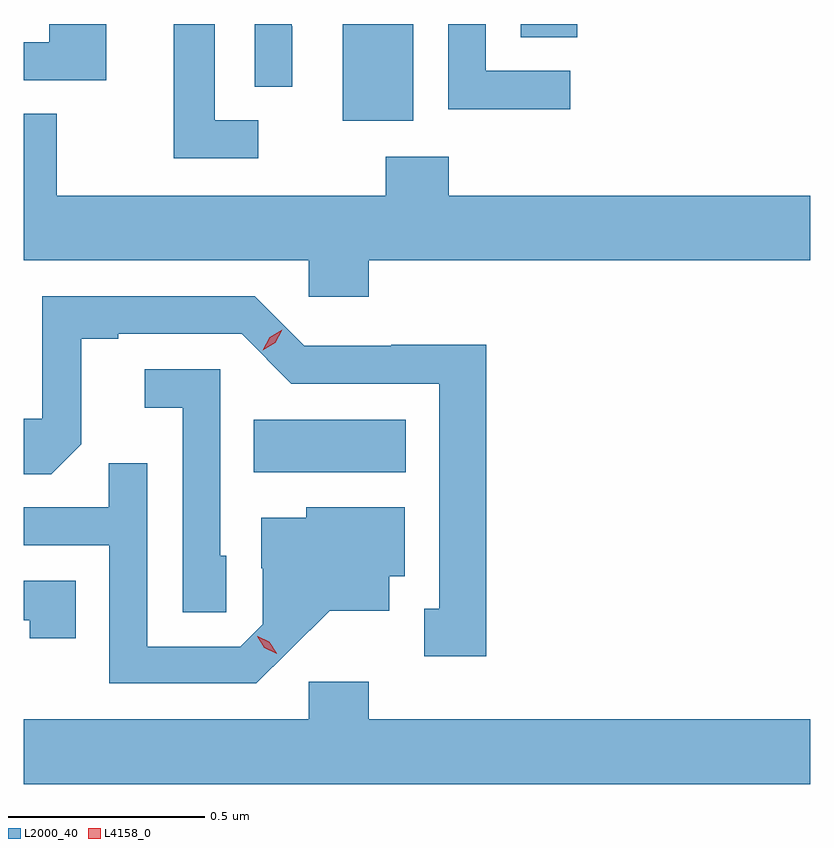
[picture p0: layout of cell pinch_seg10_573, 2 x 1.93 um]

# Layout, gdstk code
import gdstk
lib = gdstk.Library(unit=1e-6, precision=1e-09)
def R(c, l, rs):  # rectangles x0, y0, x1, y1
    for r in rs: c.add(gdstk.rectangle(r[:2], r[2:], *l))
def P(c, l, *ps):  # polygons
    for p in ps: c.add(gdstk.Polygon(p, *l))
L2000_40 = (2000, 40)
L4158_0 = (4158, 0)

pinch_seg10_573 = lib.new_cell('pinch_seg10_573')
R(pinch_seg10_573, L2000_40, [(383.788,1261.148,384.175,1261.282), (384.014,1262.042,384.193,1262.288), (384.467,1262.254,384.611,1262.288)])
P(pinch_seg10_573, L2000_40, [(383.8,1262.043),(383.689,1262.043),(383.689,1262.288),(383.585,1262.288),(383.585,1261.947),(383.8,1261.947)],
  [(383.886,1262.282),(383.885,1262.282),(383.885,1262.288),(383.79,1262.288),(383.79,1262.128),(383.886,1262.128)],
  [(384.592,1262.169),(384.378,1262.169),(384.378,1262.288),(384.282,1262.288),(384.282,1262.071),(384.592,1262.071)],
  [(383.413,1262.288),(383.268,1262.288),(383.268,1262.241),(383.203,1262.241),(383.203,1262.145),(383.413,1262.145)],
  [(384.08,1261.688),(385.203,1261.688),(385.203,1261.852),(384.284,1261.852),(384.284,1261.951),(384.124,1261.951),(384.124,1261.852),(383.287,1261.852),(383.287,1262.06),(383.203,1262.06),(383.203,1261.688),(383.928,1261.688),(383.928,1261.595),(384.08,1261.595)],
  [(384.379,1261.472),(384.138,1261.472),(384.138,1261.47),(383.916,1261.47),(383.79,1261.596),(383.25,1261.596),(383.25,1261.284),(383.203,1261.284),(383.203,1261.144),(383.273,1261.144),(383.349,1261.22),(383.349,1261.488),(383.443,1261.488),(383.443,1261.5),(383.757,1261.5),(383.883,1261.374),(384.26,1261.374),(384.26,1260.801),(384.221,1260.801),(384.221,1260.681),(384.379,1260.681)],
  [(383.718,1260.936),(383.703,1260.936),(383.703,1261.41),(383.511,1261.41),(383.511,1261.313),(383.607,1261.313),(383.607,1260.793),(383.718,1260.793)],
  [(383.878,1260.695),(383.981,1260.797),(384.133,1260.797),(384.133,1260.884),(384.172,1260.884),(384.172,1261.06),(383.922,1261.06),(383.922,1261.033),(383.807,1261.033),(383.807,1260.904),(383.811,1260.904),(383.811,1260.762),(383.754,1260.705),(383.517,1260.705),(383.517,1261.172),(383.419,1261.172),(383.419,1261.059),(383.203,1261.059),(383.203,1260.963),(383.421,1260.963),(383.421,1260.612),(383.794,1260.612)],
  [(383.336,1260.873),(383.203,1260.873),(383.203,1260.772),(383.218,1260.772),(383.218,1260.726),(383.336,1260.726)],
  [(385.203,1260.52),(384.08,1260.52),(384.08,1260.616),(383.928,1260.616),(383.928,1260.52),(383.203,1260.52),(383.203,1260.356),(385.203,1260.356)])
P(pinch_seg10_573, L4158_0, [(383.811,1261.459),(383.811,1261.459),(383.829,1261.492),(383.86,1261.511),(383.861,1261.511),(383.861,1261.511),(383.843,1261.478),(383.811,1261.459)],
  [(383.846,1260.687),(383.815,1260.702),(383.797,1260.732),(383.797,1260.732),(383.798,1260.732),(383.828,1260.717),(383.846,1260.688),(383.846,1260.687)])

lib.write_gds('pinch_seg10_573.gds')
